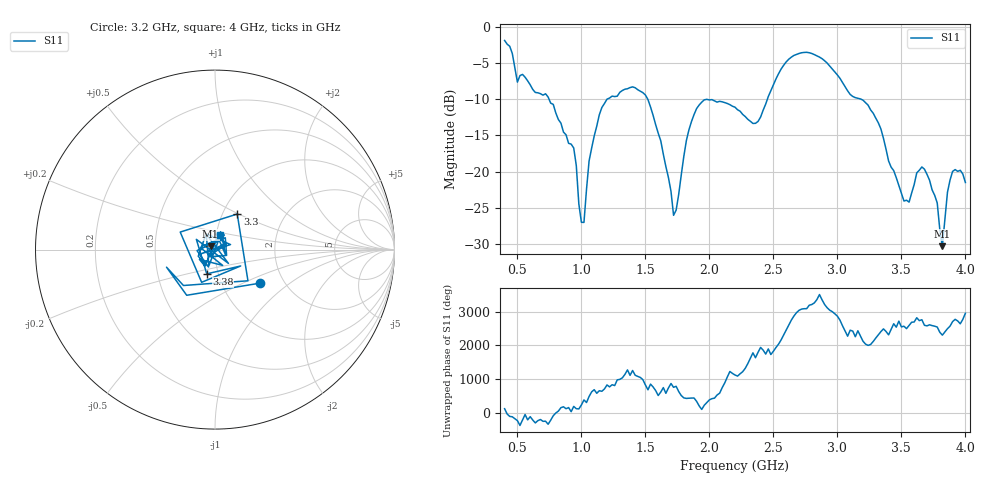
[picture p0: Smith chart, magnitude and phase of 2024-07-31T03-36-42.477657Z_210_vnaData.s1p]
!Created with skrf (http://scikit-rf.org).
# Hz S RI R 50.0
!freq ReS11 ImS11
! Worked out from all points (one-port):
!   181 points, 400 MHz to 4 GHz, reference 50 ohm
!   lowest |S11| = -30.3 dB at 3.82 GHz (marker M1), VSWR 1.06, Z = 47.6 + j1.74 ohm
!   |S11| at or under -10 dB: 746.9 MHz to 1.2 GHz (453.3 MHz wide, 46.6 % of centre); 1.518 GHz to 2.453 GHz (934.9 MHz wide, 47.1 % of centre); 3.184 GHz to end of sweep
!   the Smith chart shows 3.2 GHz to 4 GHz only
!   S11 on the Smith chart (normalised r, x): 3.2 GHz: 1.51, -0.62; 3.3 GHz: 1.17, +0.49; 3.38 GHz: 0.88, -0.24; 4 GHz: 1.05, +0.17
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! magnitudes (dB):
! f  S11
! 400 MHz  -1.9
! 500 MHz  -7.7
! 720 MHz  -9.3
! 860 MHz  -14.5
! 940 MHz  -16.7
! 980 MHz  -24.5
! 1.02 GHz  -27.0
! 1.06 GHz  -18.5
! 1.14 GHz  -12.1
! 1.3 GHz  -9.1
! 1.5 GHz  -9.4
! 1.62 GHz  -15.7
! 1.72 GHz  -26.0
! 1.76 GHz  -23.2
! 1.9 GHz  -11.3
! 2.2 GHz  -11.1
! 2.38 GHz  -13.1
! 2.66 GHz  -4.0
! 3.1 GHz  -9.4
! 3.2 GHz  -10.1
! 3.3 GHz  -12.6
! 3.38 GHz  -16.9
! 3.56 GHz  -24.2
! 3.68 GHz  -19.7
! 3.78 GHz  -24.3
! 3.82 GHz  -30.3
! 3.9 GHz  -20.0
! 4 GHz  -21.5
